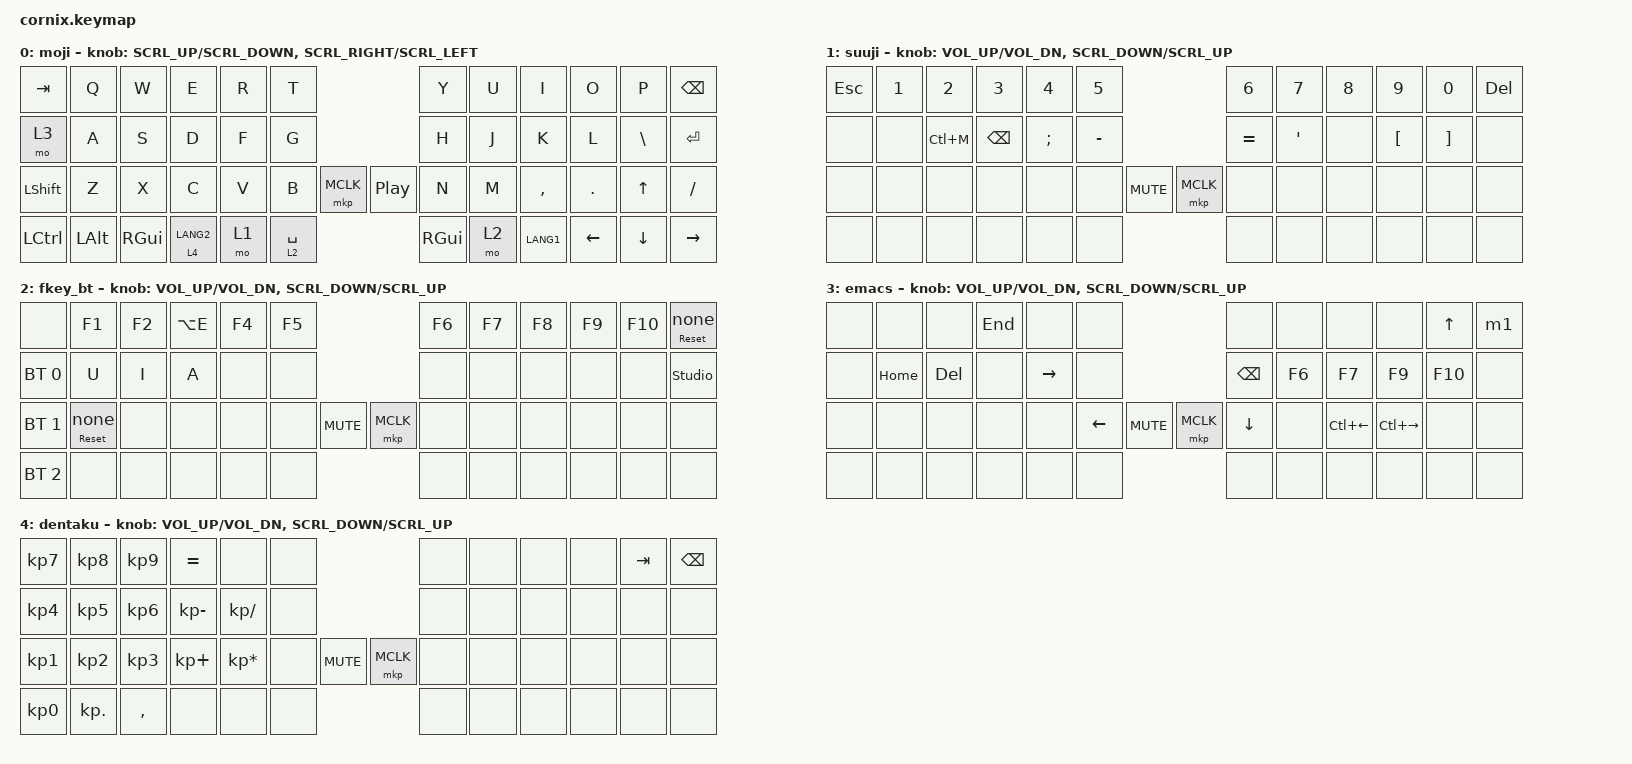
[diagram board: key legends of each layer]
/*
 * Cornix しろ（Windows の文字入力）の ZMK keymap ― 下書き
 * 元: Drive Claude/apps/cornix-zmk/keymap/shiro-zmk.vil（tools/vil2zmk.py で自動変換。手で直したら変換し直さない）
 *
 * 位置の番号（ZMK の 50 個）:
 *    0  1  2  3  4  5          6  7  8  9 10 11
 *   12 13 14 15 16 17         18 19 20 21 22 23
 *   24 25 26 27 28 29 [30 31] 32 33 34 35 36 37     30＝左ノブ押し込み・31＝右ノブ押し込み
 *   38 39 40 41 42 43         44 45 46 47 48 49     41〜46＝親指
 *
 * レイヤ: 0 もじ / 1 すうじ・きごう / 2 Fキー・BT / 3 emacs / 4 でんたく / 5 よび1 / 6 よび2
 */

#include <behaviors.dtsi>
#include <dt-bindings/zmk/bt.h>
#include <dt-bindings/zmk/keys.h>
#include <dt-bindings/zmk/pointing.h>

/ {
    behaviors {
        // 親指の LT（Vial の LT2(Space)・LT9(英数)）。Vial の設定に合わせた初期値:
        //   Tapping Term 200 → tapping-term-ms 200
        //   Permissive Hold オン → flavor "balanced"
        //   Hold On Other Key Press オフ → hold-preferred にしない
        //   Flow Tap 120 → require-prior-idle-ms 120（打っている途中の親指はタップ扱い）
        //   Chordal Hold オン → 入れていない（入れるとレイヤ3・8を左手で使いにくくなる。下書きの注を参照）
        lt_th: lt_thumb {
            compatible = "zmk,behavior-hold-tap";
            #binding-cells = <2>;
            flavor = "balanced";
            tapping-term-ms = <200>;
            quick-tap-ms = <175>;
            require-prior-idle-ms = <120>;
            bindings = <&mo>, <&kp>;
        };

        // ノブでホイール（Vial の KC_WH_*）。回す量は実機で tap-ms を合わせる
        rot_msc: rot_msc {
            compatible = "zmk,behavior-sensor-rotate-var";
            #sensor-binding-cells = <2>;
            bindings = <&msc>, <&msc>;
            tap-ms = <30>;
        };

        // 1秒長押しで再起動（つながりが不安定なときの応急手当。短く押しても何も起きない）
        // ZMK の reset は「押したキーがある側」を再起動する：左手のキー＝左、右手のキー＝右
        hold_reset: hold_reset {
            compatible = "zmk,behavior-hold-tap";
            #binding-cells = <2>;
            flavor = "tap-preferred";
            tapping-term-ms = <1000>;
            bindings = <&sys_reset>, <&none>;
        };

        rot_none: rot_none {
            compatible = "zmk,behavior-sensor-rotate";
            #sensor-binding-cells = <0>;
            bindings = <&none>, <&none>;
        };
    };

    macros {
        m1: m1 {
            compatible = "zmk,behavior-macro";
            #binding-cells = <0>;
            wait-ms = <20>;   // Vial の Tap Code Delay 20ms に合わせた
            tap-ms = <20>;
            // Vial: [["down", "KC_LSHIFT"], ["tap", "KC_END"], ["up", "KC_LSHIFT"], ["tap", "KC_DELETE"]]
            bindings = <&macro_press &kp LSHFT>, <&macro_tap &kp END>, <&macro_release &kp LSHFT>, <&macro_tap &kp DEL>;
        };
    };

    keymap {
        compatible = "zmk,keymap";

        moji {
            display-name = "moji";   // もじ（元の Vial のレイヤ 0）
            bindings = <
                &kp TAB         &kp Q           &kp W           &kp E           &kp R           &kp T                                           &kp Y           &kp U           &kp I           &kp O           &kp P           &kp BSPC
                &mo 3           &kp A           &kp S           &kp D           &kp F           &kp G                                           &kp H           &kp J           &kp K           &kp L           &kp BSLH        &kp RET
                &kp LSHFT       &kp Z           &kp X           &kp C           &kp V           &kp B           &mkp MCLK       &kp C_PP        &kp N           &kp M           &kp COMMA       &kp DOT         &kp UP          &kp FSLH
                &kp LCTRL       &kp LALT        &kp RGUI        &lt_th 4 LANG2  &mo 1           &lt_th 2 SPACE                                  &kp RGUI        &mo 2           &kp LANG1       &kp LEFT        &kp DOWN        &kp RIGHT
            >;
            sensor-bindings = <&rot_msc SCRL_UP SCRL_DOWN &rot_msc SCRL_RIGHT SCRL_LEFT>;
        };

        suuji {
            display-name = "suuji";   // すうじ・きごう（元の Vial のレイヤ 1）
            bindings = <
                &kp ESC     &kp N1      &kp N2      &kp N3      &kp N4      &kp N5                              &kp N6      &kp N7      &kp N8      &kp N9      &kp N0      &kp DEL
                &none       &none       &kp LC(M)   &kp BSPC    &kp SEMI    &kp MINUS                           &kp EQUAL   &kp SQT     &none       &kp LBKT    &kp RBKT    &none
                &none       &none       &none       &none       &none       &none       &kp C_MUTE  &mkp MCLK   &none       &none       &none       &none       &none       &none
                &none       &none       &none       &none       &none       &none                               &none       &none       &none       &none       &none       &none
            >;
            sensor-bindings = <&inc_dec_kp C_VOL_UP C_VOL_DN &rot_msc SCRL_DOWN SCRL_UP>;
        };

        fkey_bt {
            display-name = "fkey_bt";   // Fキー・BT（元の Vial のレイヤ 2）
            bindings = <
                &none            &kp F1           &kp F2           &kp LA(E)        &kp F4           &kp F5                                             &kp F6           &kp F7           &kp F8           &kp F9           &kp F10          &hold_reset 0 0
                &bt BT_SEL 0     &kp U            &kp I            &kp A            &none            &none                                              &none            &none            &none            &none            &none            &studio_unlock
                &bt BT_SEL 1     &hold_reset 0 0  &none            &none            &none            &none            &kp C_MUTE       &mkp MCLK        &none            &none            &none            &none            &none            &none
                &bt BT_SEL 2     &none            &none            &none            &none            &none                                              &none            &none            &none            &none            &none            &none
            >;
            sensor-bindings = <&inc_dec_kp C_VOL_UP C_VOL_DN &rot_msc SCRL_DOWN SCRL_UP>;
        };

        emacs {
            display-name = "emacs";   // emacs（元の Vial のレイヤ 4）
            bindings = <
                &none          &none          &none          &kp END        &none          &none                                        &none          &none          &none          &none          &kp UP         &m1
                &none          &kp HOME       &kp DEL        &none          &kp RIGHT      &none                                        &kp BSPC       &kp F6         &kp F7         &kp F9         &kp F10        &none
                &none          &none          &none          &none          &none          &kp LEFT       &kp C_MUTE     &mkp MCLK      &kp DOWN       &none          &kp LC(LEFT)   &kp LC(RIGHT)  &none          &none
                &none          &none          &none          &none          &none          &none                                        &none          &none          &none          &none          &none          &none
            >;
            sensor-bindings = <&inc_dec_kp C_VOL_UP C_VOL_DN &rot_msc SCRL_DOWN SCRL_UP>;
        };

        dentaku {
            display-name = "dentaku";   // でんたく（元の Vial のレイヤ 9）
            bindings = <
                &kp KP_N7        &kp KP_N8        &kp KP_N9        &kp EQUAL        &none            &none                                              &none            &none            &none            &none            &kp TAB          &kp BSPC
                &kp KP_N4        &kp KP_N5        &kp KP_N6        &kp KP_MINUS     &kp KP_SLASH     &none                                              &none            &none            &none            &none            &none            &none
                &kp KP_N1        &kp KP_N2        &kp KP_N3        &kp KP_PLUS      &kp KP_ASTERISK  &none            &kp C_MUTE       &mkp MCLK        &none            &none            &none            &none            &none            &none
                &kp KP_N0        &kp KP_DOT       &kp COMMA        &none            &none            &none                                              &none            &none            &none            &none            &none            &none
            >;
            sensor-bindings = <&inc_dec_kp C_VOL_UP C_VOL_DN &rot_msc SCRL_DOWN SCRL_UP>;
        };

        extra1 {
            status = "reserved";   // よび1（ZMK Studio で使う予備）
        };

        extra2 {
            status = "reserved";   // よび2（ZMK Studio で使う予備）
        };
    };
};
